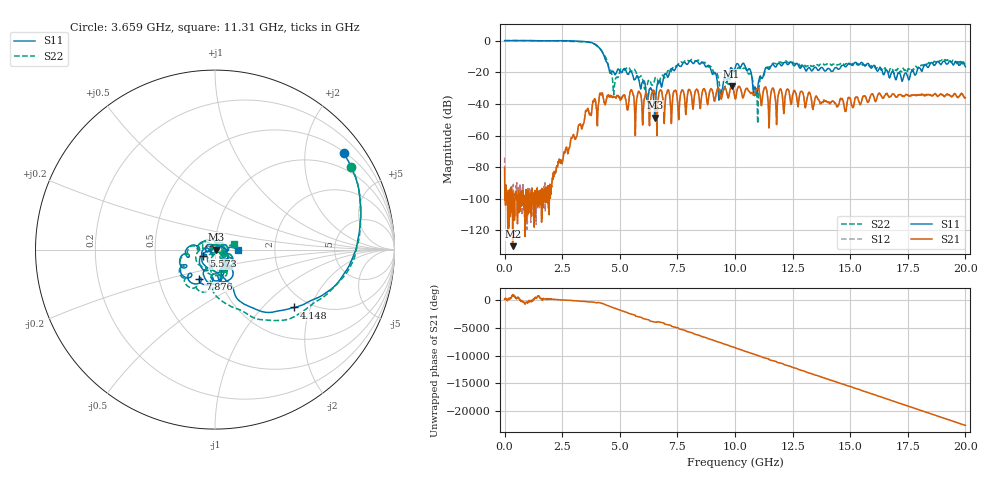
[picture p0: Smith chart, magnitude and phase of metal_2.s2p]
#  HZ  S  RI  R  50.00
! Rohde & Schwarz Vector Network Analyzer
! Rohde-Schwarz,ZNB20-2Port,1311601062102128,3.60
! Created: UTC 4/29/2024, 2:40:18 PM
! freq[Hz]  re:S11  im:S11  re:S21  im:S21  re:S12  im:S12  re:S22  im:S22
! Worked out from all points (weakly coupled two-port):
!   2007 points, 100 kHz to 20 GHz, reference 50 ohm
!   highest |S21| = -28.87 dB at 9.85 GHz (marker M1); lowest = -130.0 dB at 349.1 MHz (marker M2)
!   lowest |S11| = -48.6 dB at 6.521 GHz (marker M3), VSWR 1.01, Z = 50.4 + j0.0467 ohm
!   |S11| at or under -10 dB: 4.324 GHz to end of sweep
!   |S22| runs from -52.4 to 0.1 dB; largest |S21 - S12| = 0.0017
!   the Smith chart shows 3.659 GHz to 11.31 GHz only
!   S11 on the Smith chart (normalised r, x): 3.659 GHz: 0.53, +2.92; 4.148 GHz: 1.69, -1.56; 5.573 GHz: 0.88, -0.06; 7.876 GHz: 0.80, -0.27; 11.31 GHz: 1.29, -0.00
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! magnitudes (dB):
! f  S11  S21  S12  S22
! 100 kHz  0.0  -80.3  -73.8  0.1
! 349.1 MHz  0.0  -130.0  -102.4  0.0
! 2.213 GHz  -0.1  -82.7  -84.0  -0.3
! 3.34 GHz  -0.6  -55.8  -55.5  -0.6
! 3.659 GHz  -0.9  -45.6  -45.5  -1.0
! 4.148 GHz  -5.2  -33.4  -33.0  -5.1
! 4.756 GHz  -20.5  -35.7  -35.7  -30.3
! 5.573 GHz  -22.6  -34.0  -33.9  -18.5
! 6.521 GHz  -48.6  -33.6  -33.6  -24.3
! 6.67 GHz  -25.8  -36.4  -36.4  -26.8
! 7.876 GHz  -14.7  -45.6  -45.7  -12.1
! 8.863 GHz  -15.7  -35.2  -35.2  -16.6
! 9.362 GHz  -33.0  -35.5  -35.5  -32.9
! 9.85 GHz  -17.3  -28.9  -28.9  -20.4
! 10 GHz  -17.4  -36.7  -36.6  -20.4
! 10.65 GHz  -18.2  -32.7  -32.7  -20.8
! 10.93 GHz  -32.0  -30.9  -30.9  -33.0
! 11.31 GHz  -18.0  -29.4  -29.3  -19.0
! 11.48 GHz  -18.1  -55.1  -55.2  -17.0
! 13.34 GHz  -19.2  -39.8  -39.8  -16.0
! 16.67 GHz  -22.2  -35.4  -35.4  -20.3
! 20 GHz  -16.5  -36.0  -36.0  -13.8
